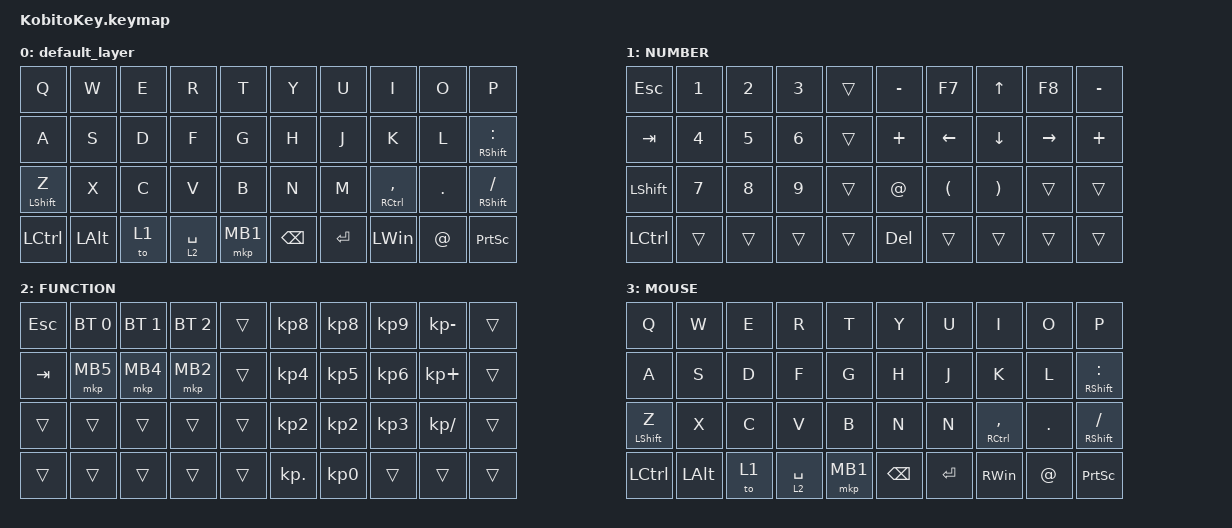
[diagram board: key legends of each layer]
#include <input/processors.dtsi>
#include <behaviors.dtsi>
#include <dt-bindings/zmk/bt.h>
#include <dt-bindings/zmk/keys.h>
#include <dt-bindings/zmk/pointing.h>

/ {
    combos {
        compatible = "zmk,combos";

        combo_eisu {
            timeout-ms = <50>;
            key-positions = <12 13>;
            bindings = <&kp LANG2>;
        };

        combo_kana {
            timeout-ms = <50>;
            key-positions = <16 17>;
            bindings = <&kp LANG1>;
        };

        combo_esc {
            timeout-ms = <50>;
            key-positions = <0 1>;
            bindings = <&kp ESC>;
        };

        combo_tab {
            timeout-ms = <50>;
            key-positions = <10 11>;
            bindings = <&kp TAB>;
        };
    };

    keymap {
        compatible = "zmk,keymap";

        default_layer {
            bindings = <
&kp Q             &kp W     &kp E  &kp R        &kp T     &kp Y     &kp U      &kp I            &kp O    &kp P
&kp A             &kp S     &kp D  &kp F        &kp G     &kp H     &kp J      &kp K            &kp L    &mt RIGHT_SHIFT COLON
&mt LEFT_SHIFT Z  &kp X     &kp C  &kp V        &kp B     &kp N     &kp M      &mt RCTRL COMMA  &kp DOT  &mt RIGHT_SHIFT SLASH
&kp LCTRL         &kp LALT  &to 1  &lt 2 SPACE  &mkp MB1  &kp BSPC  &kp ENTER  &kp LEFT_WIN     &kp AT   &kp PRINTSCREEN
            >;
        };

        layer1 {
            label = "NUMBER";
            bindings = <
&kp ESCAPE      &kp N1  &kp N2  &kp N3  &trans  &kp MINUS   &kp F7                &kp UP                 &kp F8     &kp MINUS
&kp TAB         &kp N4  &kp N5  &kp N6  &trans  &kp PLUS    &kp LEFT              &kp DOWN               &kp RIGHT  &kp PLUS
&kp LEFT_SHIFT  &kp N7  &kp N8  &kp N9  &trans  &kp AT      &kp LEFT_PARENTHESIS  &kp RIGHT_PARENTHESIS  &trans     &trans
&kp LCTRL       &trans  &trans  &trans  &trans  &kp DELETE  &trans                &trans                 &trans     &trans
            >;
        };

        layer2 {
            label = "FUNCTION";
            bindings = <
&kp ESCAPE  &bt BT_SEL 0  &bt BT_SEL 1  &bt BT_SEL 2  &trans  &kp KP_N8   &kp KP_N8        &kp KP_NUMBER_9  &kp KP_SUBTRACT  &trans
&kp TAB     &mkp MB5      &mkp MB4      &mkp MB2      &trans  &kp KP_N4   &kp KP_N5        &kp KP_N6        &kp KP_PLUS      &trans
&trans      &trans        &trans        &trans        &trans  &kp KP_N2   &kp KP_NUMBER_2  &kp KP_N3        &kp KP_DIVIDE    &trans
&trans      &trans        &trans        &trans        &trans  &kp KP_DOT  &kp KP_N0        &trans           &trans           &trans
            >;
        };

        layer3 {
            label = "MOUSE";
            bindings = <
&kp Q             &kp W         &kp E  &kp R        &kp T     &kp Y          &kp U      &kp I            &kp O       &kp P
&kp A             &kp S         &kp D  &kp F        &kp G     &kp H          &kp J      &kp K            &kp L       &mt RIGHT_SHIFT COLON
&mt LEFT_SHIFT Z  &kp X         &kp C  &kp V        &kp B     &kp N          &kp N      &mt RCTRL COMMA  &kp PERIOD  &mt RIGHT_SHIFT SLASH
&kp LCTRL         &kp LEFT_ALT  &to 1  &lt 2 SPACE  &mkp MB1  &kp BACKSPACE  &kp ENTER  &kp RIGHT_WIN    &kp AT      &kp PRINTSCREEN
            >;
        };
    };
};
